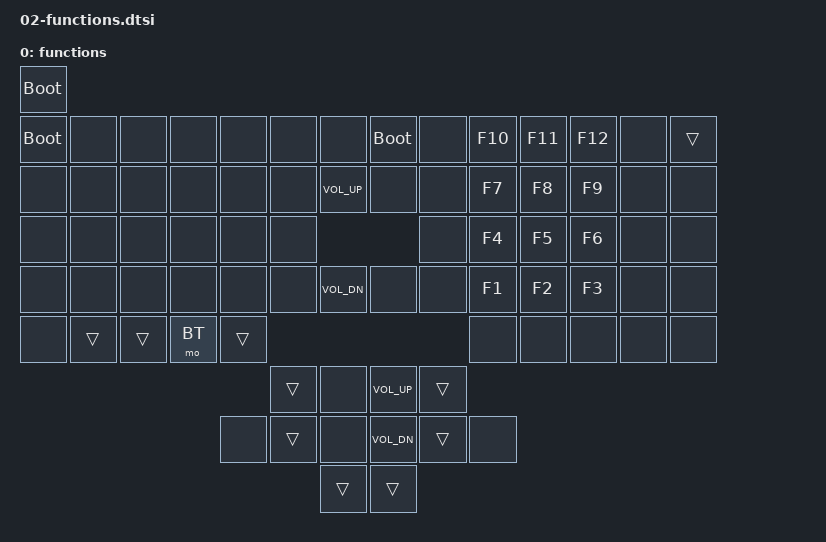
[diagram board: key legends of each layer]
/ {
  keymap {
    compatible = "zmk,keymap";

    // https://zmk.dev/docs/codes

    functions { // FUNC
      bindings = <
        &bootloader
        &bootloader  &none        &none        &none        &none         &none         &none                &bootloader     &none         &kp F10      &kp F11      &kp F12      &none         &trans
        &none        &none        &none        &none        &none         &none         &kp C_VOL_UP         &none           &none         &kp F7       &kp F8       &kp F9       &none         &none
        &none        &none        &none        &none        &none         &none                                              &none         &kp F4       &kp F5       &kp F6       &none         &none
        &none        &none        &none        &none        &none         &none         &kp C_VOL_DN         &none           &none         &kp F1       &kp F2       &kp F3       &none         &none
        &none        &trans       &trans       &mo BT       &trans                                                                         &none        &none        &none        &none         &none
                                                                          &trans        &none                &kp C_VOL_UP    &trans
                                                            &none         &trans        &none                &kp C_VOL_DN    &trans         &none
                                                                                        &trans               &trans
      >;
    };
  };
};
